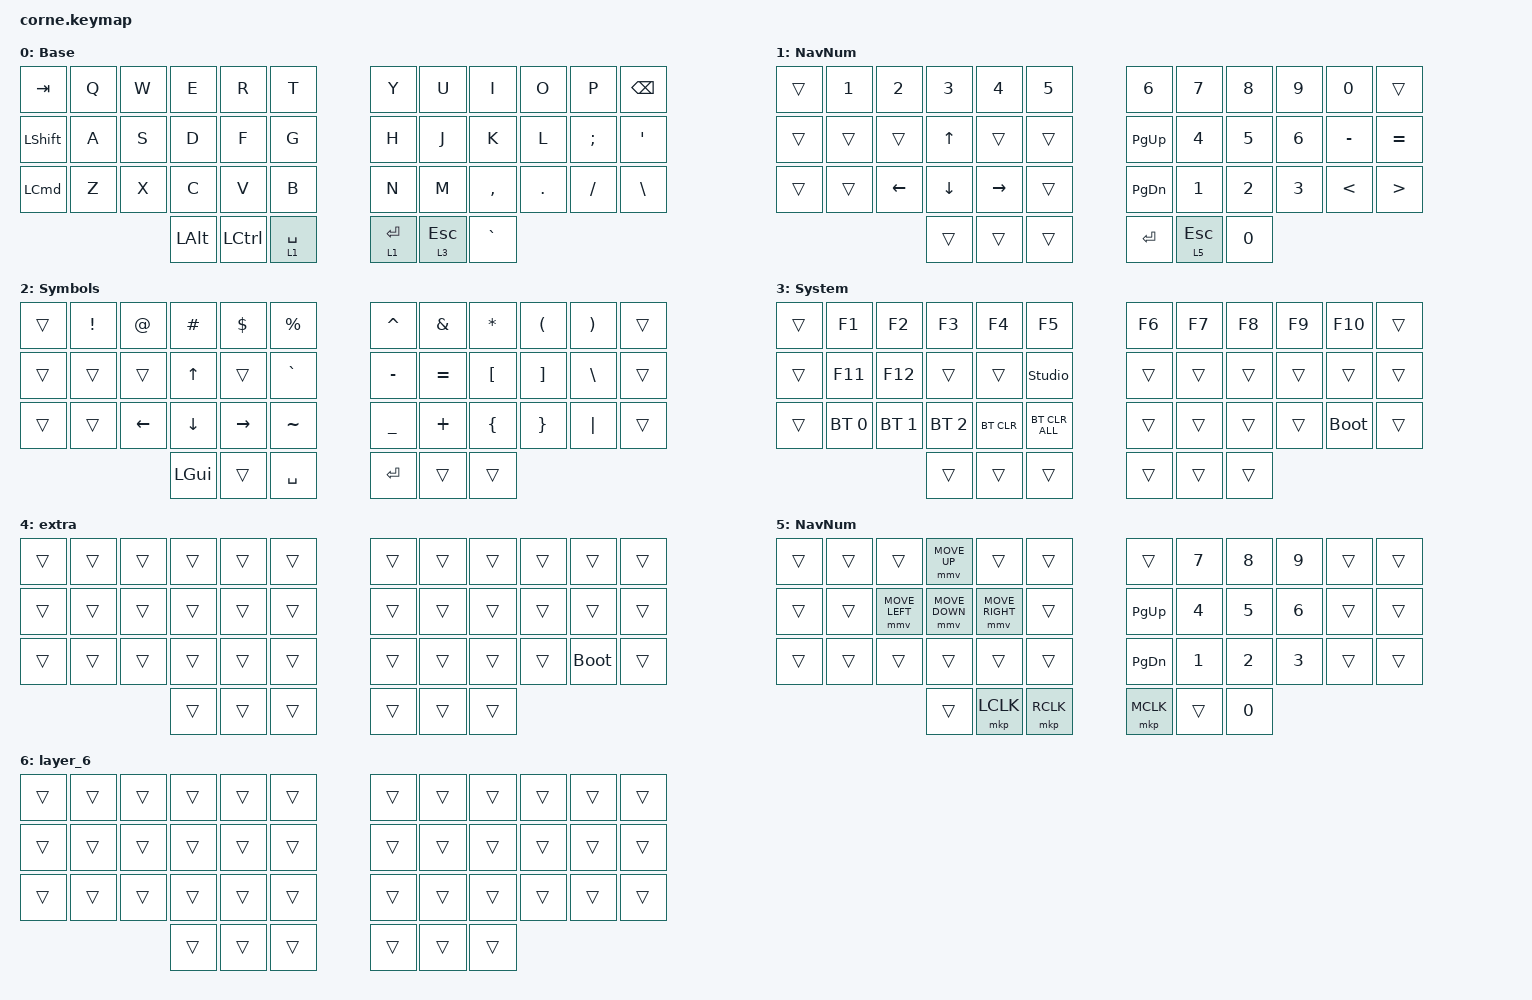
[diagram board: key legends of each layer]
#include <behaviors.dtsi>
#include <dt-bindings/zmk/bt.h>
#include <dt-bindings/zmk/keys.h>
#include <dt-bindings/zmk/pointing.h>

#define DEF 0
#define NAV 1
#define SYM 2
#define ADJ 3
#define EXTRA 4

/ {
    behaviors {
        hm: homerow_mods {
            compatible = "zmk,behavior-hold-tap";
            label = "HOMEROW_MODS";
            #binding-cells = <2>;
            tapping-term-ms = <200>;
            quick_tap_ms = <0>;
            flavor = "tap-preferred";
            bindings = <&kp>, <&kp>;

            quick-tap-ms = <180>;
            global-quick-tap;
        };

        para: para {
            compatible = "zmk,behavior-tap-dance";
            label = "PARA";
            #binding-cells = <0>;
            bindings = <&kp LEFT_PARENTHESIS>, <&kp RIGHT_PARENTHESIS>;
        };

        caps: caps {
            compatible = "zmk,behavior-caps-word";
            label = "CAPS";
            #binding-cells = <0>;
            continue-list = <MINUS BACKSPACE>;
        };

        paraless: paraless {
            compatible = "zmk,behavior-mod-morph";
            label = "PARALESS";
            bindings = <&kp LEFT_PARENTHESIS>, <&kp LESS_THAN>;

            #binding-cells = <0>;
            mods = <(MOD_LSFT)>;
        };

        paragreat: paragreat {
            compatible = "zmk,behavior-mod-morph";
            label = "PARAGREAT";
            bindings = <&kp RIGHT_PARENTHESIS>, <&kp GREATER_THAN>;

            #binding-cells = <0>;
            mods = <(MOD_LSFT)>;
        };
    };

    macros {
        browsertab: browsertab {
            compatible = "zmk,behavior-macro";
            #binding-cells = <0>;
            bindings =
                <&macro_press>,
                <&kp LCTRL>,
                <&macro_tap>,
                <&kp TAB>,
                <&macro_release>,
                <&kp LCTRL>;
        };
    };

    combos {
        compatible = "zmk,combos";

        perc {
            bindings = <&kp PERCENT>;
            key-positions = <5 17>;
        };

        equal {
            bindings = <&kp EQUAL>;
            key-positions = <28 16>;
        };

        dollar {
            bindings = <&kp DOLLAR>;
            key-positions = <4 16>;
        };

        pound {
            bindings = <&kp POUND>;
            key-positions = <3 15>;
        };

        at {
            bindings = <&kp AT>;
            key-positions = <2 14>;
        };

        backslash {
            bindings = <&kp BACKSLASH>;
            key-positions = <26 14>;
        };

        copy {
            bindings = <&kp K_COPY>;
            key-positions = <28 27>;
        };

        paste {
            bindings = <&kp K_PASTE>;
            key-positions = <26 27>;
        };

        star {
            bindings = <&kp STAR>;
            key-positions = <8 20>;
        };

        slash {
            bindings = <&kp SLASH>;
            key-positions = <31 19>;
        };

        plus {
            bindings = <&kp PLUS>;
            key-positions = <7 6>;
        };

        minus {
            bindings = <&kp KP_MINUS>;
            key-positions = <19 18>;
        };

        underscore {
            bindings = <&kp UNDER>;
            key-positions = <31 30>;
        };

        leftbrack {
            bindings = <&kp LEFT_BRACKET>;
            key-positions = <31 32>;
        };

        rightbrack {
            bindings = <&kp RIGHT_BRACKET>;
            key-positions = <33 32>;
        };

        para-less {
            bindings = <&paraless>;
            key-positions = <20 19>;
        };

        para-great {
            bindings = <&paragreat>;
            key-positions = <20 21>;
        };

        ToLayer0 {
            bindings = <&to 0>;
            key-positions = <37 24>;
        };

        Layer1 {
            bindings = <&to 1>;
            key-positions = <37 25>;
        };

        L2 {
            bindings = <&to 2>;
            key-positions = <37 26>;
        };

        L3 {
            bindings = <&to 3>;
            key-positions = <37 27>;
        };

        L4 {
            bindings = <&to 4>;
            key-positions = <37 28>;
        };

        leftBrace {
            bindings = <&kp LEFT_BRACE>;
            key-positions = <7 8>;
        };

        rightBrace {
            bindings = <&kp RIGHT_BRACE>;
            key-positions = <8 9>;
        };

        equals {
            bindings = <&kp EQUAL>;
            key-positions = <10 11>;
        };

        lt {
            bindings = <&kp LESS_THAN>;
            key-positions = <34 35>;
        };

        gt {
            bindings = <&kp GT>;
            key-positions = <22 23>;
        };

        tilde {
            bindings = <&kp ESC>;
            key-positions = <0 1>;
        };

        ex {
            bindings = <&kp EXCLAMATION>;
            key-positions = <13 1>;
        };

        amp {
            bindings = <&kp AMPS>;
            key-positions = <7 19>;
        };

        backspace {
            bindings = <&kp BACKSPACE>;
            key-positions = <16 19>;
        };

        dell {
            bindings = <&kp DEL>;
            key-positions = <20 15>;
        };
    };

    //

    keymap {
        compatible = "zmk,keymap";

        DEF {
            display-name = "Base";

            // -----------------------------------------------------------------------------------------
            // |  Q  |  W  |  E  |  R  |  T  |   |  Y  |  U   |  I  |  O  |  P  |
            // |  A  |  S  |  D  |  F  |  G  |   |  H  |  J   |  K  |  L  |  ;  |
            // |  Z  |  X  |  C  |  V  |  B  |   |  N  |  M   |  ,  |  .  |  /  |
            // | GUI | CTRL | SHFT | LWR | SPC |   | ENT | RSE  | BKSP | ALT | ESC |

            bindings = <
&kp TAB    &kp Q  &kp W  &kp E     &kp R      &kp T          &kp Y        &kp U      &kp I      &kp O    &kp P     &kp BACKSPACE
&kp LSHFT  &kp A  &kp S  &kp D     &kp F      &kp G          &kp H        &kp J      &kp K      &kp L    &kp SEMI  &kp SQT
&kp LCMD   &kp Z  &kp X  &kp C     &kp V      &kp B          &kp N        &kp M      &kp COMMA  &kp DOT  &kp FSLH  &kp BSLH
                         &kp LALT  &kp LCTRL  &lt 1 SPACE    &lt 1 ENTER  &lt 3 ESC  &kp GRAVE
            >;
        };

        NAV {
            display-name = "NavNum";

            // -----------------------------------------------------------------------------------------
            // |  TAB |  1  |  2  |  3  |  4  |  5  |   |  6  |  7  |  8  |  9  |  0  | BKSP |
            // | BTCLR| BT1 | BT2 | BT3 | BT4 | BT5 |   | LFT | DWN |  UP | RGT |     |      |
            // | SHFT |     |     |     |     |     |   |     |     |     |     |     |      |
            // | GUI | CTRL | SHFT | LWR | SPC |   | ENT | RSE  | BKSP | ALT | ESC |

            bindings = <
&trans  &kp N1  &kp N2    &kp N3    &kp N4     &kp N5    &kp N6         &kp N7     &kp N8        &kp N9  &kp NUMBER_0   &trans
&trans  &trans  &trans    &kp UP    &trans     &trans    &kp PAGE_UP    &kp N4     &kp N5        &kp N6  &kp MINUS      &kp EQUAL
&trans  &trans  &kp LEFT  &kp DOWN  &kp RIGHT  &trans    &kp PAGE_DOWN  &kp N1     &kp N2        &kp N3  &kp LESS_THAN  &kp GREATER_THAN
                          &trans    &trans     &trans    &kp RET        &lt 5 ESC  &kp NUMBER_0
            >;
        };

        SYM {
            display-name = "Symbols";

            // -----------------------------------------------------------------------------------------
            // |  TAB |  !  |  @  |  #  |  $  |  %  |   |  ^  |  &  |  *  |  (  |  )  | BKSP |
            // | CTRL |     |     |     |     |     |   |  -  |  =  |  [  |  ]  |  \  |  `   |
            // | SHFT |     |     |     |     |     |   |  _  |  +  |  {  |  }  | "|" |  ~   |
            //                    | GUI |     | SPC |   | ENT |     | ALT |

            bindings = <
&trans  &kp EXCL  &kp AT          &kp HASH        &kp DLLR         &kp PRCNT    &kp CARET  &kp AMPS   &kp ASTRK  &kp LEFT_PARENTHESIS  &kp RPAR  &trans
&trans  &trans    &trans          &kp UP_ARROW    &trans           &kp GRAVE    &kp MINUS  &kp EQUAL  &kp LBKT   &kp RBKT              &kp BSLH  &trans
&trans  &trans    &kp LEFT_ARROW  &kp DOWN_ARROW  &kp RIGHT_ARROW  &kp TILDE    &kp UNDER  &kp PLUS   &kp LBRC   &kp RBRC              &kp PIPE  &trans
                                  &kp LGUI        &trans           &kp SPACE    &kp RET    &trans     &trans
            >;
        };

        ADJ {
            display-name = "System";
            bindings = <
&trans  &kp F1        &kp F2        &kp F3        &kp F4      &kp F5            &kp F6  &kp F7  &kp F8  &kp F9  &kp F10      &trans
&trans  &kp F11       &kp F12       &trans        &trans      &studio_unlock    &trans  &trans  &trans  &trans  &trans       &trans
&trans  &bt BT_SEL 0  &bt BT_SEL 1  &bt BT_SEL 2  &bt BT_CLR  &bt BT_CLR_ALL    &trans  &trans  &trans  &trans  &bootloader  &trans
                                    &trans        &trans      &trans            &trans  &trans  &trans
            >;
        };

        EXTRA {
            display-name = "extra";
            bindings = <
&trans  &trans  &trans  &trans  &trans  &trans    &trans  &trans  &trans  &trans  &trans       &trans
&trans  &trans  &trans  &trans  &trans  &trans    &trans  &trans  &trans  &trans  &trans       &trans
&trans  &trans  &trans  &trans  &trans  &trans    &trans  &trans  &trans  &trans  &bootloader  &trans
                        &trans  &trans  &trans    &trans  &trans  &trans
            >;
        };

        mouseNav {
            display-name = "NavNum";
            bindings = <
&trans  &trans  &trans          &mmv MOVE_UP    &trans           &trans       &trans         &kp N7  &kp N8        &kp N9  &trans  &trans
&trans  &trans  &mmv MOVE_LEFT  &mmv MOVE_DOWN  &mmv MOVE_RIGHT  &trans       &kp PAGE_UP    &kp N4  &kp N5        &kp N6  &trans  &trans
&trans  &trans  &trans          &trans          &trans           &trans       &kp PAGE_DOWN  &kp N1  &kp N2        &kp N3  &trans  &trans
                                &trans          &mkp LCLK        &mkp RCLK    &mkp MCLK      &trans  &kp NUMBER_0
            >;
        };

        layer_6 {
            bindings = <
&trans  &trans  &trans  &trans  &trans  &trans    &trans  &trans  &trans  &trans  &trans  &trans
&trans  &trans  &trans  &trans  &trans  &trans    &trans  &trans  &trans  &trans  &trans  &trans
&trans  &trans  &trans  &trans  &trans  &trans    &trans  &trans  &trans  &trans  &trans  &trans
                        &trans  &trans  &trans    &trans  &trans  &trans
            >;
        };
    };

    conditional_layers { compatible = "zmk,conditional-layers"; };
};
